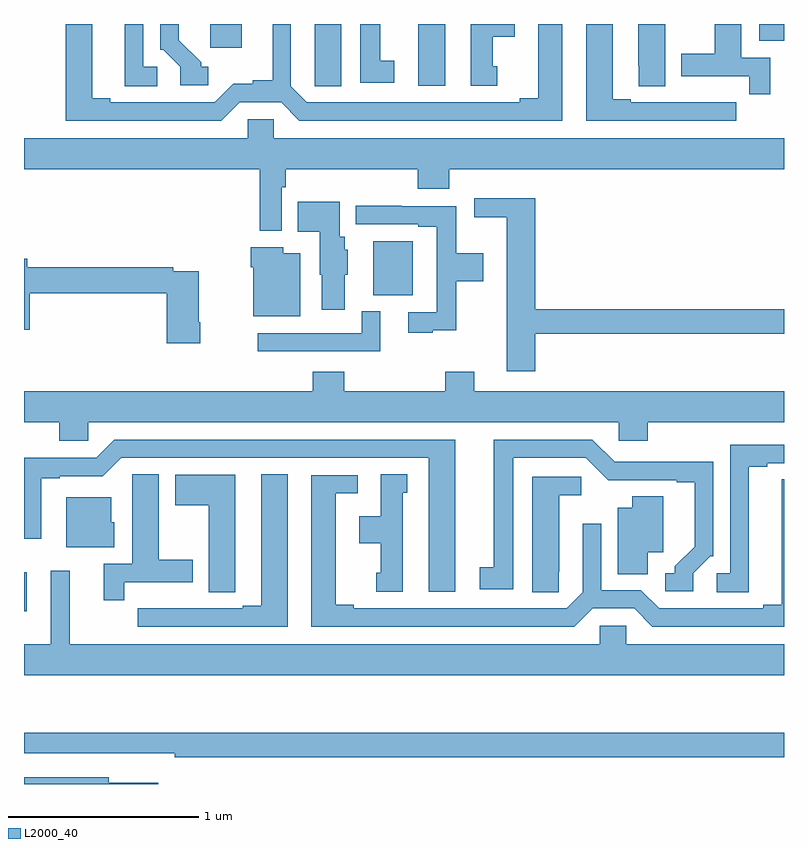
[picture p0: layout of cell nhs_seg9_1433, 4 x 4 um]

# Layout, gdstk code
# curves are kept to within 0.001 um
import gdstk
lib = gdstk.Library(unit=1e-6, precision=1e-09)
def R(c, l, rs):  # rectangles x0, y0, x1, y1
    for r in rs: c.add(gdstk.rectangle(r[:2], r[2:], *l))
def P(c, l, *ps):  # polygons
    for p in ps: c.add(gdstk.Polygon(p, *l))
L2000_40 = (2000, 40)

nhs_seg9_1433 = lib.new_cell('nhs_seg9_1433')
R(nhs_seg9_1433, L2000_40, [(191,1211.408,191.014,1211.614), (192.839,1213.073,193.045,1213.357), (193.076,1214.175,193.216,1214.5), (191.981,1214.376,192.145,1214.5), (194.87,1214.411,195,1214.5)])
P(nhs_seg9_1433, L2000_40, [(191.701,1214.274),(191.628,1214.274),(191.628,1214.5),(191.531,1214.5),(191.531,1214.173),(191.701,1214.173)],
  [(191.971,1214.274),(191.932,1214.274),(191.932,1214.298),(191.815,1214.414),(191.815,1214.5),(191.718,1214.5),(191.718,1214.364),(191.733,1214.364),(191.823,1214.274),(191.823,1214.178),(191.971,1214.178)],
  [(192.949,1214.306),(192.874,1214.306),(192.874,1214.5),(192.77,1214.5),(192.77,1214.19),(192.949,1214.19)],
  [(194.749,1214.088),(194.636,1214.088),(194.636,1214.089),(194.47,1214.089),(194.47,1214.088),(194.194,1214.088),(194.194,1214.103),(194.098,1214.103),(194.098,1214.5),(193.958,1214.5),(193.958,1213.992),(194.749,1213.992)],
  [(194.927,1214.322),(194.776,1214.322),(194.776,1214.5),(194.636,1214.5),(194.636,1214.343),(194.459,1214.343),(194.459,1214.226),(194.818,1214.226),(194.818,1214.13),(194.927,1214.13)],
  [(192.135,1214.088),(192.353,1214.088),(192.449,1213.992),(193.834,1213.992),(193.834,1214.5),(193.706,1214.5),(193.706,1214.108),(193.61,1214.108),(193.61,1214.088),(192.489,1214.088),(192.405,1214.172),(192.405,1214.5),(192.308,1214.5),(192.308,1214.204),(192.204,1214.204),(192.204,1214.186),(192.101,1214.186),(192.003,1214.088),(191.455,1214.088),(191.455,1214.108),(191.359,1214.108),(191.359,1214.5),(191.219,1214.5),(191.219,1213.992),(192.039,1213.992)],
  [(193.492,1214.277),(193.468,1214.277),(193.468,1214.432),(193.582,1214.432),(193.582,1214.5),(193.352,1214.5),(193.352,1214.175),(193.492,1214.175)],
  [(194.374,1214.5),(194.234,1214.5),(194.234,1214.281),(194.235,1214.281),(194.235,1214.173),(194.374,1214.173)],
  [(192.67,1214.5),(192.53,1214.5),(192.53,1214.281),(192.531,1214.281),(192.531,1214.173),(192.67,1214.173)],
  [(192.357,1213.64),(192.377,1213.64),(192.377,1213.736),(193.073,1213.736),(193.073,1213.634),(193.238,1213.634),(193.238,1213.736),(195,1213.736),(195,1213.9),(192.315,1213.9),(192.315,1213.998),(192.177,1213.998),(192.177,1213.9),(191,1213.9),(191,1213.736),(192.241,1213.736),(192.241,1213.413),(192.357,1213.413)],
  [(193.691,1212.87),(195,1212.87),(195,1212.998),(193.691,1212.998),(193.691,1213.582),(193.371,1213.582),(193.371,1213.484),(193.541,1213.484),(193.541,1212.672),(193.691,1212.672)],
  [(192.688,1213.179),(192.703,1213.179),(192.703,1213.311),(192.688,1213.311),(192.688,1213.38),(192.661,1213.38),(192.661,1213.564),(192.442,1213.564),(192.442,1213.406),(192.557,1213.406),(192.557,1213.179),(192.566,1213.179),(192.566,1212.996),(192.688,1212.996)],
  [(193.151,1212.887),(193.274,1212.887),(193.274,1213.147),(193.417,1213.147),(193.417,1213.294),(193.274,1213.294),(193.274,1213.542),(192.989,1213.542),(192.989,1213.544),(192.747,1213.544),(192.747,1213.446),(193.076,1213.446),(193.076,1213.434),(193.173,1213.434),(193.173,1212.984),(193.023,1212.984),(193.023,1212.876),(193.151,1212.876)],
  [(192.454,1213.294),(192.364,1213.294),(192.364,1213.324),(192.194,1213.324),(192.194,1213.22),(192.206,1213.22),(192.206,1212.962),(192.454,1212.962)],
  [(191.928,1212.931),(191.92,1212.931),(191.92,1213.2),(191.786,1213.2),(191.786,1213.22),(191.017,1213.22),(191.017,1213.264),(191,1213.264),(191,1212.891),(191.03,1212.891),(191.03,1213.084),(191.75,1213.084),(191.75,1212.819),(191.928,1212.819)],
  [(192.874,1212.988),(192.777,1212.988),(192.777,1212.873),(192.231,1212.873),(192.231,1212.777),(192.874,1212.777)],
  [(191.337,1212.404),(194.13,1212.404),(194.13,1212.306),(194.282,1212.306),(194.282,1212.404),(195,1212.404),(195,1212.568),(193.369,1212.568),(193.369,1212.67),(193.217,1212.67),(193.217,1212.568),(192.686,1212.568),(192.686,1212.67),(192.521,1212.67),(192.521,1212.568),(191,1212.568),(191,1212.404),(191.186,1212.404),(191.186,1212.306),(191.337,1212.306)],
  [(193.27,1212.312),(191.475,1212.312),(191.379,1212.216),(191,1212.216),(191,1211.79),(191.092,1211.79),(191.092,1212.108),(191.188,1212.108),(191.188,1212.12),(191.415,1212.12),(191.511,1212.216),(193.13,1212.216),(193.13,1211.511),(193.27,1211.511)],
  [(194.523,1211.61),(194.613,1211.7),(194.628,1211.7),(194.628,1212.197),(194.365,1212.197),(194.365,1212.195),(194.109,1212.195),(193.992,1212.312),(193.472,1212.312),(193.472,1211.642),(193.398,1211.642),(193.398,1211.526),(193.576,1211.526),(193.576,1212.216),(193.956,1212.216),(194.074,1212.098),(194.435,1212.099),(194.435,1212.087),(194.531,1212.087),(194.531,1211.75),(194.426,1211.645),(194.426,1211.61),(194.376,1211.61),(194.376,1211.514),(194.523,1211.514)],
  [(194.815,1212.169),(194.911,1212.169),(194.911,1212.189),(195,1212.189),(195,1212.285),(194.718,1212.285),(194.718,1211.61),(194.646,1211.61),(194.646,1211.509),(194.815,1211.509)],
  [(192.994,1212.033),(193.018,1212.033),(193.018,1212.131),(192.878,1212.131),(192.878,1211.908),(192.764,1211.908),(192.764,1211.768),(192.878,1211.768),(192.878,1211.613),(192.854,1211.613),(192.854,1211.511),(192.994,1211.511)],
  [(191.528,1211.562),(191.887,1211.562),(191.887,1211.679),(191.71,1211.679),(191.71,1212.131),(191.571,1212.131),(191.571,1212.02),(191.57,1212.02),(191.57,1211.658),(191.42,1211.658),(191.42,1211.466),(191.528,1211.466)],
  [(192.388,1212.131),(192.248,1212.131),(192.248,1211.439),(192.152,1211.439),(192.152,1211.424),(191.876,1211.424),(191.876,1211.425),(191.71,1211.425),(191.71,1211.424),(191.598,1211.424),(191.598,1211.328),(192.388,1211.328)],
  [(192.111,1211.617),(192.112,1211.617),(192.112,1212.127),(191.795,1212.127),(191.795,1211.968),(191.972,1211.968),(191.972,1211.509),(192.111,1211.509)],
  [(193.993,1211.424),(194.211,1211.424),(194.307,1211.328),(195,1211.328),(195,1212.104),(194.987,1212.104),(194.987,1211.444),(194.891,1211.444),(194.891,1211.424),(194.343,1211.424),(194.247,1211.52),(194.037,1211.52),(194.037,1211.869),(193.941,1211.869),(193.941,1211.508),(193.857,1211.424),(192.736,1211.424),(192.736,1211.444),(192.64,1211.444),(192.64,1212.03),(192.757,1212.03),(192.757,1212.126),(192.512,1212.126),(192.512,1211.328),(193.897,1211.328)],
  [(193.815,1211.617),(193.816,1211.617),(193.816,1212.02),(193.933,1212.02),(193.933,1212.117),(193.676,1212.117),(193.676,1211.509),(193.815,1211.509)],
  [(194.284,1211.72),(194.365,1211.72),(194.365,1212.014),(194.201,1212.014),(194.201,1211.953),(194.126,1211.953),(194.126,1211.605),(194.284,1211.605)],
  [(191.476,1211.877),(191.458,1211.877),(191.458,1212.01),(191.222,1212.01),(191.222,1211.747),(191.476,1211.747)],
  [(194.031,1211.334),(194.031,1211.236),(191.24,1211.236),(191.24,1211.623),(191.142,1211.623),(191.142,1211.236),(191,1211.236),(191,1211.072),(195,1211.072),(195,1211.236),(194.169,1211.236),(194.169,1211.334)],
  [(195,1210.771),(191,1210.771),(191,1210.662),(191.542,1210.662),(191.542,1210.661),(191.794,1210.661),(191.794,1210.642),(195,1210.642)],
  [(191.707,1210.507),(191.446,1210.507),(191.446,1210.536),(191,1210.536),(191,1210.5),(191.707,1210.5)])

lib.write_gds('nhs_seg9_1433.gds')
